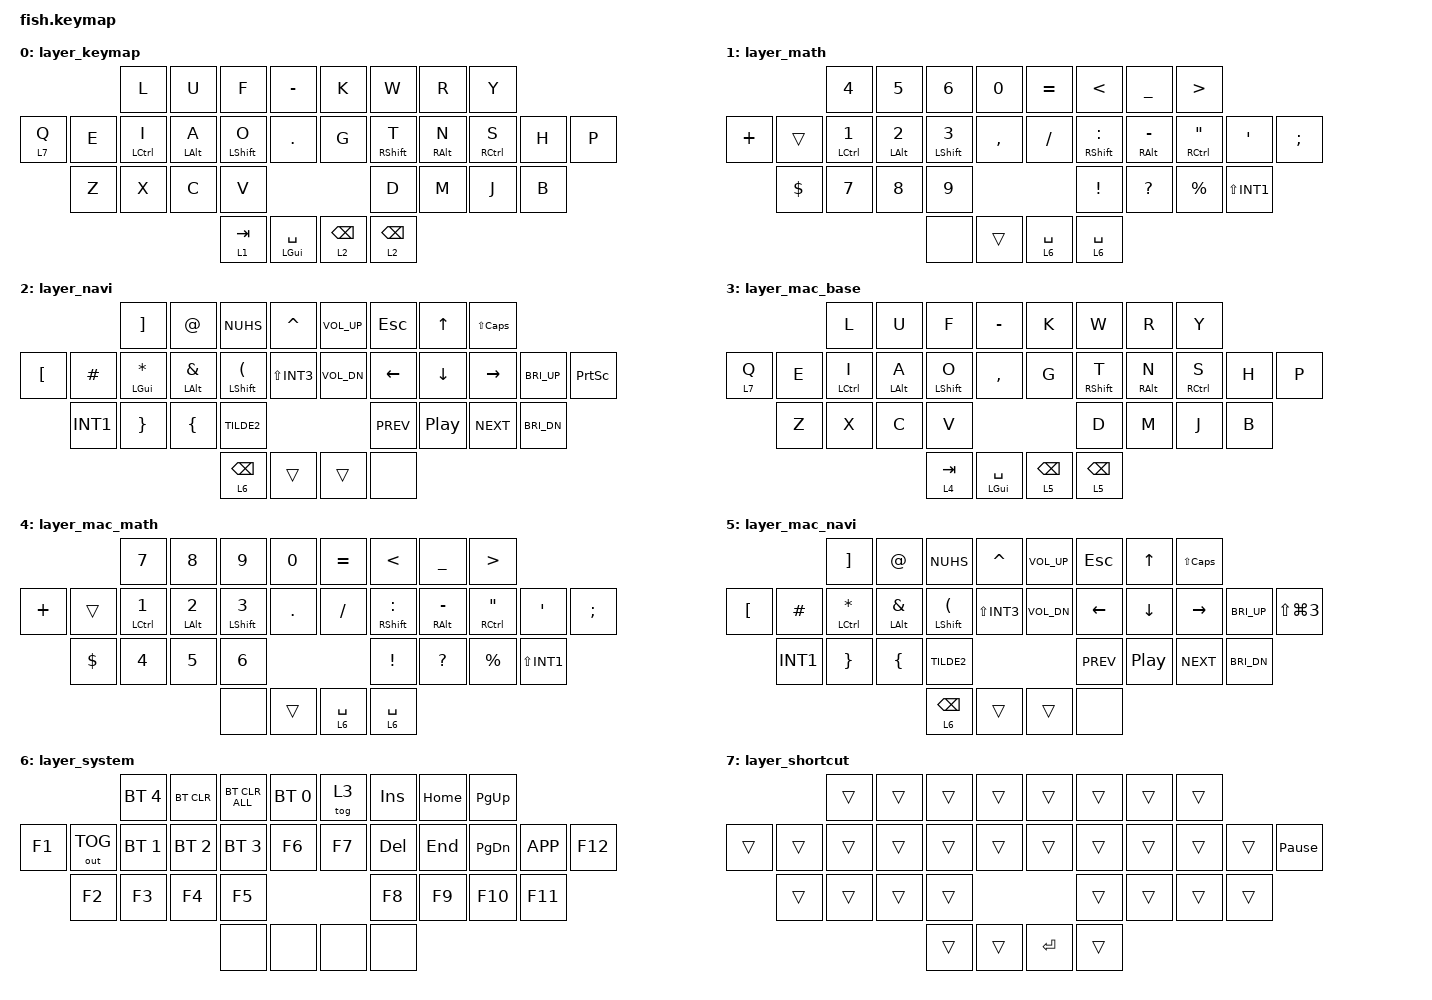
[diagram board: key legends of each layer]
// キーマップを更新する方法は https://o24.works/fish/guide を参照
// 視覚的に編集するには https://o24.works/fish/editor を参照


// 定義を呼んでくる
#include <behaviors.dtsi>
#include <dt-bindings/zmk/keys.h>
#include <dt-bindings/zmk/mouse.h>
#include <dt-bindings/zmk/bt.h>
#include <dt-bindings/zmk/outputs.h>
#include <dt-bindings/zmk/pointing.h>


// 特殊入力の挙動を調整できる

&mt {
    flavor = "tap-preferred";
    tapping-term-ms = <225>;
    quick-tap-ms = <200>;
    require-prior-idle-ms = <150>;
};

&lt {
    flavor = "balanced";
    quick-tap-ms = <200>;
};

&sk {
};

&sl {
};

&caps_word {
};

&key_repeat {
};


/ {
    // 独自の入力を定義できる（上級者向け）

    behaviors {
    };

    macros {
        ALPH_TOGGLE: ALPH_TOGGLE {
            compatible = "zmk,behavior-macro";
            #binding-cells = <0>;
            bindings
                = <&macro_tap &kp LANG2>
                , <&macro_press &kp LSHFT>
                , <&macro_press &kp CAPS>
                , <&macro_release &kp LSHFT>
                , <&macro_release &kp CAPS>
                ;
        };
        KANA_TOGGLE: KANA_TOGGLE {
            compatible = "zmk,behavior-macro";
            #binding-cells = <0>;
            bindings
                = <&macro_tap &kp LANG1>
                , <&macro_press &kp LSHFT>
                , <&macro_press &kp CAPS>
                , <&macro_release &kp LSHFT>
                , <&macro_release &kp CAPS>
                ;
        };
    };

    conditional_layers {
    };


    // 複数キーの同時押しに特別の入力を設定できる
    // キー番号早見表：
    //       0  1  2  3     4  5  6  7
    // 8  9 10 11 12 13    14 15 16 17 18 19
    //   20 21 22 23          24 25 26 27
    //            28 29    30 31

    combos {
        compatible = "zmk,combos";
        timeout-ms = <150>;
        require-prior-idle-ms = <150>;

        combo_lang2 {
            key-positions = <21 22>;
            bindings = <&kp LANG2>;
        };

        combo_lang1 {
            key-positions = <25 26>;
            bindings = <&kp LANG1>;
        };

        combo_alph_toggle {
            key-positions = <0 1>;
            bindings = <&ALPH_TOGGLE>;
        };

        combo_kana_toggle {
            key-positions = <6 7>;
            bindings = <&KANA_TOGGLE>;
        };

        combo_ret {
            key-positions = <16 17>;
            bindings = <&kp RET>;
        };
    };
    

    // キーに入力を割り当てる
    // 型（&...）は https://zmk.dev/docs/behaviors/... を参照
    // キーコードは https://zmk.dev/docs/codes/... を参照

    keymap {
        compatible = "zmk,keymap";

        layer_keymap {
            bindings = <
                        &kp L       &kp U       &kp F       &kp MINUS           &kp K       &kp W       &kp R       &kp Y       
&lt 7 Q     &kp E       &mt LCTRL I &mt LALT A  &mt LSHFT O &kp DOT             &kp G       &mt RSHFT T &mt RALT N  &mt RCTRL S &kp H       &kp P       
            &kp Z       &kp X       &kp C       &kp V                                       &kp D       &kp M       &kp J       &kp B       
                                                &lt 1 TAB   &mt LGUI SPACE      &lt 2 BSPC  &lt 2 BSPC  
            >;
        };

        layer_math {
            bindings = <
                        &kp N4      &kp N5      &kp N6      &kp N0              &kp EQUAL   &kp LT      &kp UNDER   &kp GT      
&kp PLUS    &trans      &mt LCTRL N1 &mt LALT N2 &mt LSHFT N3 &kp COMMA         &kp FSLH    &mt RSHFT COLON &mt RALT MINUS &mt RCTRL DQT &kp SQT &kp SEMI 
            &kp DLLR    &kp N7      &kp N8      &kp N9                                      &kp EXCL    &kp QMARK   &kp PRCNT   &kp LS(INT1) 
                                                &none       &trans              &lt 6 SPACE &lt 6 SPACE 
            >;
        };

        layer_navi {
            bindings = <
                        &kp RBKT    &kp AT      &kp NUHS    &kp CARET           &kp C_VOL_UP &kp ESC    &kp UP      &kp LS(CAPS) 
&kp LBKT    &kp HASH    &mt LGUI STAR &mt LALT AMPS &mt LSHFT LPAR &kp LS(INT3) &kp C_VOL_DN &kp LEFT   &kp DOWN    &kp RIGHT   &kp C_BRI_UP &kp PSCRN  
            &kp INT1    &kp RBRC    &kp LBRC    &kp TILDE2                                  &kp C_PREV  &kp C_PP    &kp C_NEXT  &kp C_BRI_DN 
                                                &lt 6 BSPC  &trans              &trans      &none       
            >;
        };

        layer_mac_base {
            bindings = <
                        &kp L       &kp U       &kp F       &kp MINUS           &kp K       &kp W       &kp R       &kp Y       
&lt 7 Q     &kp E       &mt LCTRL I &mt LALT A  &mt LSHFT O &kp COMMA           &kp G       &mt RSHFT T &mt RALT N  &mt RCTRL S &kp H       &kp P       
            &kp Z       &kp X       &kp C       &kp V                                       &kp D       &kp M       &kp J       &kp B       
                                                &lt 4 TAB   &mt LGUI SPACE      &lt 5 BSPC  &lt 5 BSPC  
            >;
        };

        layer_mac_math {
            bindings = <
                        &kp N7      &kp N8      &kp N9      &kp N0              &kp EQUAL   &kp LT      &kp UNDER   &kp GT      
&kp PLUS    &trans      &mt LCTRL N1 &mt LALT N2 &mt LSHFT N3 &kp DOT           &kp FSLH    &mt RSHFT COLON &mt RALT MINUS &mt RCTRL DQT &kp SQT &kp SEMI 
            &kp DLLR    &kp N4      &kp N5      &kp N6                                      &kp EXCL    &kp QMARK   &kp PRCNT   &kp LS(INT1) 
                                                &none       &trans              &lt 6 SPACE &lt 6 SPACE 
            >;
        };

        layer_mac_navi {
            bindings = <
                        &kp RBKT    &kp AT      &kp NUHS    &kp CARET           &kp C_VOL_UP &kp ESC    &kp UP      &kp LS(CAPS) 
&kp LBKT    &kp HASH    &mt LCTRL STAR &mt LALT AMPS &mt LSHFT LPAR &kp LS(INT3) &kp C_VOL_DN &kp LEFT  &kp DOWN    &kp RIGHT   &kp C_BRI_UP &kp LS(LG(N3)) 
            &kp INT1    &kp RBRC    &kp LBRC    &kp TILDE2                                  &kp C_PREV  &kp C_PP    &kp C_NEXT  &kp C_BRI_DN 
                                                &lt 6 BSPC  &trans              &trans      &none       
            >;
        };

        layer_system {
            bindings = <
                        &bt BT_SEL 4 &bt BT_CLR &bt BT_CLR_ALL &bt BT_SEL 0     &tog 3      &kp INS     &kp HOME    &kp PG_UP   
&kp F1      &out OUT_TOG &bt BT_SEL 1 &bt BT_SEL 2 &bt BT_SEL 3 &kp F6          &kp F7      &kp DEL     &kp END     &kp PG_DN   &kp K_APP   &kp F12     
            &kp F2      &kp F3      &kp F4      &kp F5                                      &kp F8      &kp F9      &kp F10     &kp F11     
                                                &none       &none               &none       &none       
            >;
        };

        layer_shortcut {
            bindings = <
                        &trans      &trans      &trans      &trans              &trans      &trans      &trans      &trans      
&trans      &trans      &trans      &trans      &trans      &trans              &trans      &trans      &trans      &trans      &trans      &kp PAUSE_BREAK 
            &trans      &trans      &trans      &trans                                      &trans      &trans      &trans      &trans      
                                                &trans      &trans              &kp RET     &trans      
            >;
        };
    };
};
